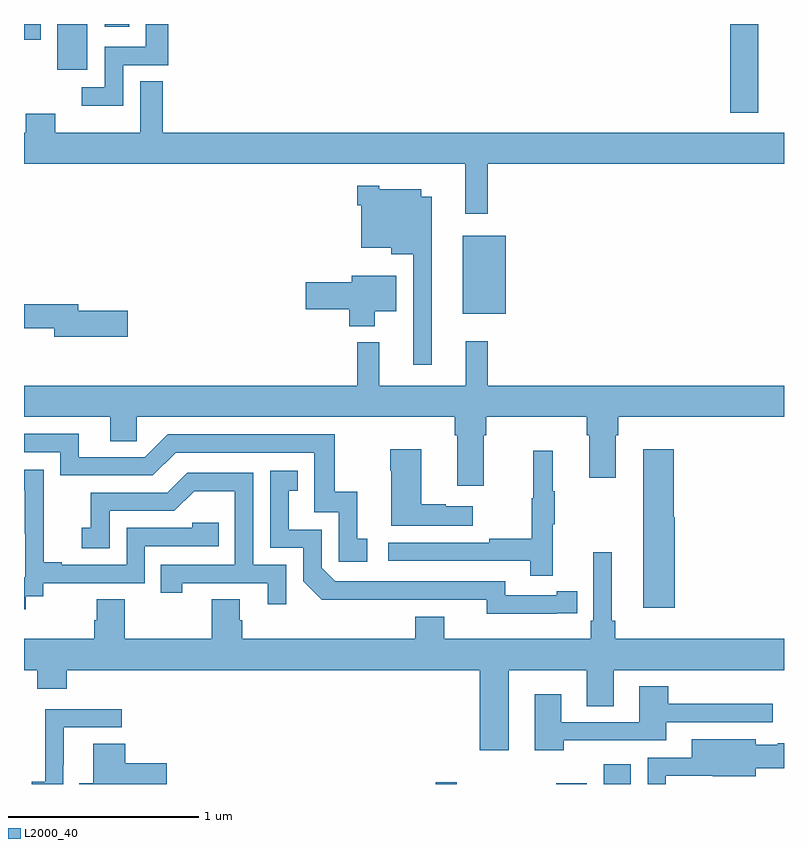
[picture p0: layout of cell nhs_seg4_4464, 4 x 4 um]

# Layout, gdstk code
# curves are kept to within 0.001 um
import gdstk
lib = gdstk.Library(unit=1e-6, precision=1e-09)
def R(c, l, rs):  # rectangles x0, y0, x1, y1
    for r in rs: c.add(gdstk.rectangle(r[:2], r[2:], *l))
def P(c, l, *ps):  # polygons
    for p in ps: c.add(gdstk.Polygon(p, *l))
L2000_40 = (2000, 40)

nhs_seg4_4464 = lib.new_cell('nhs_seg4_4464')
R(nhs_seg4_4464, L2000_40, [(353.166,782.9,353.278,782.909), (353.801,782.9,353.962,782.905), (354.05,782.9,354.193,783.004), (353.309,785.375,353.536,785.785), (354.716,786.432,354.865,786.9), (351.176,786.66,351.334,786.9), (351,786.816,351.088,786.9), (351.426,786.885,351.553,786.9)])
P(nhs_seg4_4464, L2000_40, [(351.522,786.684),(351.76,786.684),(351.76,786.9),(351.641,786.9),(351.641,786.78),(351.426,786.78),(351.426,786.567),(351.303,786.567),(351.303,786.47),(351.522,786.47)],
  [(353.441,786.164),(355,786.164),(355,786.328),(351.73,786.328),(351.73,786.599),(351.611,786.599),(351.611,786.328),(351.165,786.328),(351.165,786.427),(351.01,786.427),(351.01,786.328),(351,786.328),(351,786.164),(353.323,786.164),(353.323,785.901),(353.441,785.901)],
  [(353.146,785.992),(353.092,785.992),(353.092,786.031),(352.869,786.031),(352.869,786.049),(352.754,786.049),(352.754,785.945),(352.775,785.945),(352.775,785.723),(352.934,785.723),(352.934,785.687),(353.049,785.687),(353.049,785.106),(353.146,785.106)],
  [(352.846,785.387),(352.96,785.387),(352.96,785.575),(352.724,785.575),(352.724,785.54),(352.482,785.54),(352.482,785.398),(352.712,785.398),(352.712,785.309),(352.846,785.309)],
  [(351.547,785.39),(351.286,785.39),(351.286,785.426),(351,785.426),(351,785.298),(351.158,785.298),(351.158,785.255),(351.547,785.255)],
  [(353.419,784.736),(353.432,784.736),(353.432,784.832),(353.963,784.832),(353.963,784.736),(353.975,784.736),(353.975,784.512),(354.115,784.512),(354.115,784.736),(354.128,784.736),(354.128,784.832),(355,784.832),(355,784.996),(353.441,784.996),(353.441,785.23),(353.324,785.23),(353.324,784.996),(352.871,784.996),(352.871,785.224),(352.753,785.224),(352.753,784.996),(351,784.996),(351,784.832),(351.455,784.832),(351.455,784.705),(351.594,784.705),(351.594,784.832),(353.267,784.832),(353.267,784.736),(353.279,784.736),(353.279,784.47),(353.419,784.47)],
  [(352.807,784.191),(352.754,784.191),(352.754,784.438),(352.636,784.438),(352.636,784.74),(351.756,784.74),(351.636,784.62),(351.289,784.62),(351.289,784.743),(351,784.743),(351,784.647),(351.192,784.647),(351.192,784.524),(351.678,784.524),(351.798,784.644),(352.527,784.644),(352.527,784.329),(352.656,784.329),(352.656,784.071),(352.807,784.071)],
  [(353.362,784.363),(353.219,784.363),(353.219,784.373),(353.092,784.373),(353.092,784.663),(352.927,784.663),(352.927,784.55),(352.934,784.55),(352.934,784.259),(353.362,784.259)],
  [(354.424,784.305),(354.419,784.305),(354.419,784.663),(354.26,784.663),(354.26,783.828),(354.424,783.828)],
  [(353.783,784.267),(353.794,784.267),(353.794,784.441),(353.783,784.441),(353.783,784.654),(353.68,784.654),(353.68,784.404),(353.673,784.404),(353.673,784.19),(353.449,784.19),(353.449,784.17),(352.917,784.17),(352.917,784.074),(353.665,784.074),(353.665,783.996),(353.783,783.996)],
  [(351.01,783.889),(351.102,783.889),(351.102,783.957),(351.636,783.957),(351.636,784.152),(352.025,784.152),(352.025,784.275),(351.885,784.275),(351.885,784.248),(351.54,784.248),(351.54,784.053),(351.199,784.053),(351.199,784.066),(351.104,784.066),(351.104,784.349),(351.105,784.349),(351.105,784.555),(351,784.555),(351,784.445),(351.005,784.445),(351.005,784.217),(351.006,784.217),(351.006,783.987),(351,783.987),(351,783.819),(351.01,783.819)],
  [(353.804,783.798),(353.912,783.798),(353.912,783.914),(353.804,783.914),(353.804,783.894),(353.532,783.894),(353.532,783.966),(352.638,783.966),(352.566,784.038),(352.566,784.239),(352.393,784.239),(352.393,784.443),(352.442,784.443),(352.442,784.549),(352.296,784.549),(352.296,784.143),(352.47,784.143),(352.47,783.966),(352.568,783.869),(353.436,783.87),(353.436,783.797)],
  [(352.38,784.053),(352.206,784.053),(352.206,784.539),(351.86,784.539),(351.755,784.434),(351.352,784.434),(351.352,784.249),(351.303,784.249),(351.303,784.14),(351.45,784.14),(351.45,784.338),(351.792,784.338),(351.896,784.442),(352.11,784.442),(352.11,784.053),(351.721,784.053),(351.721,783.906),(351.832,783.906),(351.832,783.957),(352.283,783.957),(352.283,783.846),(352.38,783.846)],
  [(353.551,783.5),(353.963,783.5),(353.963,783.31),(354.103,783.31),(354.103,783.5),(355,783.5),(355,783.664),(354.113,783.664),(354.113,783.76),(354.094,783.76),(354.094,784.12),(353.997,784.12),(353.997,783.76),(353.984,783.76),(353.984,783.664),(353.212,783.664),(353.212,783.781),(353.06,783.781),(353.06,783.664),(352.148,783.664),(352.148,783.762),(352.135,783.762),(352.135,783.872),(351.988,783.872),(351.988,783.664),(351.531,783.664),(351.531,783.872),(351.383,783.872),(351.383,783.762),(351.371,783.762),(351.371,783.664),(351,783.664),(351,783.5),(351.071,783.5),(351.071,783.401),(351.224,783.401),(351.224,783.5),(353.399,783.5),(353.399,783.078),(353.551,783.078)],
  [(353.84,783.129),(354.379,783.129),(354.379,783.225),(354.94,783.225),(354.94,783.322),(354.392,783.322),(354.392,783.415),(354.239,783.415),(354.239,783.225),(353.827,783.225),(353.827,783.373),(353.687,783.373),(353.687,783.078),(353.84,783.078)],
  [(351.207,783.001),(351.208,783.001),(351.208,783.198),(351.514,783.198),(351.514,783.294),(351.111,783.294),(351.111,782.913),(351.041,782.913),(351.041,782.9),(351.207,782.9)],
  [(354.378,782.943),(354.624,782.943),(354.624,782.942),(354.85,782.942),(354.85,782.984),(355,782.984),(355,783.114),(354.966,783.114),(354.966,783.106),(354.85,783.106),(354.85,783.136),(354.515,783.136),(354.515,783.039),(354.282,783.039),(354.282,782.9),(354.378,782.9)],
  [(351.751,783.008),(351.533,783.008),(351.533,783.113),(351.365,783.113),(351.365,782.905),(351.292,782.905),(351.292,782.9),(351.751,782.9)])

lib.write_gds('nhs_seg4_4464.gds')
